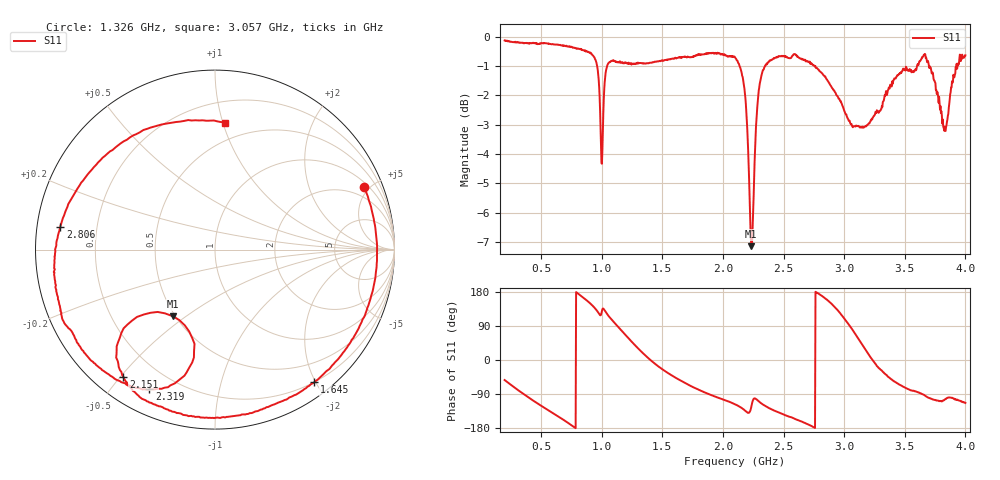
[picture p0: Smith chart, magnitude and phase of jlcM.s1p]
# MHz S MA R 50
!  freq  S11
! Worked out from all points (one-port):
!   1000 points, 200 MHz to 4 GHz, reference 50 ohm
!   lowest |S11| = -7.1 dB at 2.235 GHz (marker M1), VSWR 2.57, Z = 24.2 - j22.3 ohm
!   |S11| at or under -10 dB: nowhere
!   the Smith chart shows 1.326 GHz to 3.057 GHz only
!   S11 on the Smith chart (normalised r, x): 1.326 GHz: 1.26, +4.68; 1.645 GHz: 0.20, -1.98; 2.151 GHz: 0.08, -0.51; 2.319 GHz: 0.11, -0.63; 2.806 GHz: 0.07, +0.07; 3.057 GHz: 0.36, +1.02
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200  0.9855 -52.9
420.621  0.9756 -103.9
675.475  0.9669 -155.8
884.685  0.9419 155.4
987.387  0.7485 118.2
1036.837  0.8771 124.9
1150.951  0.9084 82.4
1325.926  0.9019 22.6
1451.451  0.9071 -12.9
1626.426  0.9207 -49.7
1645.445  0.9234 -53.2
1866.066  0.9354 -87.7
2101.902  0.9215 -117.3
2151.351  0.8742 -125.8
2196.997  0.7259 -137.1
2235.035  0.4396 -122.5
2318.719  0.8601 -115.2
2577.377  0.9298 -152.8
2805.606  0.8712 171.5
2927.327  0.8034 138.4
3052.853  0.7109 87.0
3056.657  0.7091 85.5
3239.239  0.7294 -2.3
3383.784  0.8255 -49.6
3528.328  0.8775 -76.7
3661.461  0.931 -92.8
3825.025  0.6916 -105.8
4000  0.9298 -113.2
